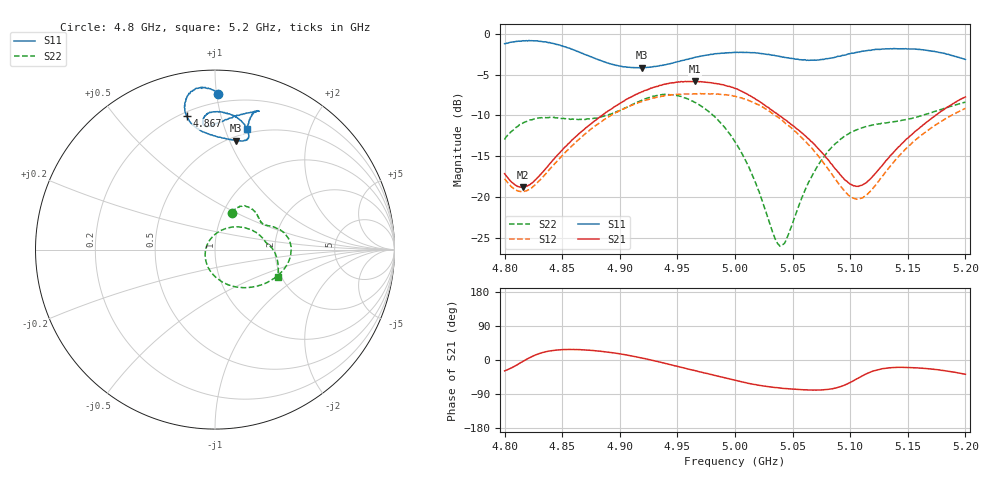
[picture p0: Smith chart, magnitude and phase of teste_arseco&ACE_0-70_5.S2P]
! Network Analyzer HP8722D
! Hewlett-Packard
! Data name: Linha & Wilkinson
! Saver's name: Rodrigo Anjos
! Comments: Teste da utilização de aquisição
! continua pelo VNA HP8722D
! Time and date: 8/5/2025 12:48
!  Frequency  S11  S21  S12  S22
# HZ  S  MA R 50
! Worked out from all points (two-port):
!   401 points, 4.8 GHz to 5.2 GHz, reference 50 ohm
!   highest |S21| = -5.83 dB at 4.965 GHz (marker M1); lowest = -18.8 dB at 4.816 GHz (marker M2)
!   |S21| within 3 dB of the highest: 4.897 GHz to 5.027 GHz (129.8 MHz wide, 2.62 % of centre); 5.186198 GHz to end of sweep
!   lowest |S11| = -4.2 dB at 4.919 GHz (marker M3), VSWR 4.24, Z = 26.9 + j52.9 ohm
!   |S11| at or under -10 dB: nowhere
!   |S22| runs from -26.0 to -7.4 dB; largest |S21 - S12| = 0.88
!   S11 on the Smith chart (normalised r, x): 4.8 GHz: 0.14, +1.01; 4.867 GHz: 0.22, +0.79; 5.2 GHz: 0.46, +1.19
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4.8e9  0.8684 88.8  0.1389 -28.6  0.1293 99.6  0.2249 65.6
4.816e9  0.9056 93.4  0.1149 -3.4  0.1083 121.7  0.2841 58.2
4.845e9  0.8591 100.5  0.1777 26.2  0.1646 150.9  0.3055 40.4
4.867e9  0.7592 102.0  0.2527 27.0  0.2331 154.8  0.2986 30.8
4.896e9  0.6421 92.6  0.3588 18.3  0.3266 149.1  0.3308 23.5
4.919e9  0.6182 79.0  0.4409 5.4  0.384 139.7  0.3909 14.6
4.934e9  0.6351 74.0  0.4804 -5.1  0.4122 131.4  0.4208 5.0
4.949e9  0.6702 73.8  0.5048 -15.9  0.4246 121.9  0.4185 -7.4
4.965e9  0.7158 76.6  0.5111 -28.0  0.4281 111.8  0.3802 -21.8
4.984e9  0.754 82.3  0.4948 -41.6  0.4258 99.4  0.3024 -43.0
5e9  0.7679 87.5  0.4624 -53.6  0.4143 88.1  0.2175 -66.6
5.019e9  0.7617 92.6  0.393 -65.9  0.3701 74.8  0.1166 -105.2
5.034e9  0.737 94.8  0.3316 -72.3  0.3195 66.9  0.05765 -161.0
5.039e9  0.7238 95.2  0.3136 -73.8  0.3016 64.7  0.05005 167.0
5.045e9  0.7125 95.5  0.2928 -75.6  0.2791 62.3  0.05598 129.2
5.067e9  0.6889 93.1  0.2169 -79.2  0.1983 58.6  0.1353 61.6
5.084e9  0.7114 87.5  0.1589 -76.2  0.1384 63.4  0.2017 37.8
5.104e9  0.7644 79.5  0.1172 -52.7  0.0977 90.2  0.2552 20.0
5.115e9  0.7879 75.7  0.1244 -35.1  0.1041 110.0  0.2719 14.0
5.134e9  0.8077 72.7  0.1757 -20.5  0.152 126.4  0.2869 8.0
5.17e9  0.7843 74.4  0.3005 -23.7  0.2639 122.1  0.3279 -1.2
5.2e9  0.695 75.2  0.4099 -37.6  0.3491 110.7  0.3805 -23.7
